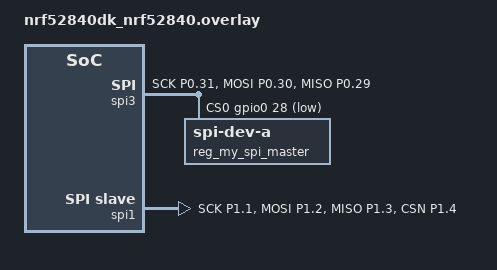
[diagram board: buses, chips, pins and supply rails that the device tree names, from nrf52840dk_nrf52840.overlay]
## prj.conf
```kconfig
CONFIG_GPIO=y

CONFIG_SPI=y
CONFIG_SPI_ASYNC=y

CONFIG_SPI_SLAVE=y
```

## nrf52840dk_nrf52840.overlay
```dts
&pinctrl {
	spi_master_default: spi_master_default {
		group1 {
			psels = <NRF_PSEL(SPIM_SCK, 0, 31)>,
					<NRF_PSEL(SPIM_MOSI, 0, 30)>,
					<NRF_PSEL(SPIM_MISO, 0, 29)>;
		};
	};

	spi_master_sleep: spi_master_sleep {
		group1 {
			psels = <NRF_PSEL(SPIM_SCK, 0, 31)>,
					<NRF_PSEL(SPIM_MOSI, 0, 30)>,
					<NRF_PSEL(SPIM_MISO, 0, 29)>;
			low-power-enable;
		};
	};

	spi_slave_default: spi_slave_default {
		group1 {
			psels = <NRF_PSEL(SPIS_SCK, 1, 1)>,
					<NRF_PSEL(SPIS_MOSI, 1, 2)>,
					<NRF_PSEL(SPIS_MISO, 1, 3)>,
					<NRF_PSEL(SPIS_CSN, 1, 4)>;
		};
	};

	spi_slave_sleep: spi_slave_sleep {
		group1 {
			psels = <NRF_PSEL(SPIS_SCK, 1, 1)>,
					<NRF_PSEL(SPIS_MOSI, 1, 2)>,
					<NRF_PSEL(SPIS_MISO, 1, 3)>,
					<NRF_PSEL(SPIS_CSN, 1, 4)>;
			low-power-enable;
		};
	};
};

my_spi_master: &spi3 {
	compatible = "nordic,nrf-spim";
	status = "okay";
	pinctrl-0 = <&spi_master_default>;
	pinctrl-1 = <&spi_master_sleep>;
	pinctrl-names = "default", "sleep";
	cs-gpios = <&gpio0 28 GPIO_ACTIVE_LOW>;
	reg_my_spi_master: spi-dev-a@0 {
		reg = <0>;
	};
};

my_spi_slave: &spi1 {
	compatible = "nordic,nrf-spis";
	status = "okay";
	pinctrl-0 = <&spi_slave_default>;
	pinctrl-1 = <&spi_slave_sleep>;
	pinctrl-names = "default", "sleep";
	def-char = <0x00>;
};

// By default uart1 will occupy P1.01 and P1.02. In order to make these pins available, disable uart1
&uart1 {
	status="disabled";
};
```

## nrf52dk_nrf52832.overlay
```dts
&pinctrl {
	spi_master_default: spi_master_default {
		group1 {
			psels = <NRF_PSEL(SPIM_SCK, 0, 31)>,
					<NRF_PSEL(SPIM_MOSI, 0, 30)>,
					<NRF_PSEL(SPIM_MISO, 0, 29)>;
		};
	};

	spi_master_sleep: spi_master_sleep {
		group1 {
			psels = <NRF_PSEL(SPIM_SCK, 0, 31)>,
					<NRF_PSEL(SPIM_MOSI, 0, 30)>,
					<NRF_PSEL(SPIM_MISO, 0, 29)>;
			low-power-enable;
		};
	};

	spi_slave_default: spi_slave_default {
		group1 {
			psels = <NRF_PSEL(SPIS_SCK, 0, 11)>,
					<NRF_PSEL(SPIS_MOSI, 0, 12)>,
					<NRF_PSEL(SPIS_MISO, 0, 13)>,
					<NRF_PSEL(SPIS_CSN, 0, 14)>;
		};
	};

	spi_slave_sleep: spi_slave_sleep {
		group1 {
			psels = <NRF_PSEL(SPIS_SCK, 0, 11)>,
					<NRF_PSEL(SPIS_MOSI, 0, 12)>,
					<NRF_PSEL(SPIS_MISO, 0, 13)>,
					<NRF_PSEL(SPIS_CSN, 0, 14)>;
			low-power-enable;
		};
	};
};

my_spi_master: &spi1 {
	compatible = "nordic,nrf-spi";
	status = "okay";
	pinctrl-0 = <&spi_master_default>;
	pinctrl-1 = <&spi_master_sleep>;
	pinctrl-names = "default", "sleep";
	cs-gpios = <&gpio0 28 GPIO_ACTIVE_LOW>;
	reg_my_spi_master: spi-dev-a@0 {
		reg = <0>;
	};
};

my_spi_slave: &spi2 {
	compatible = "nordic,nrf-spis";
	status = "okay";
	pinctrl-0 = <&spi_slave_default>;
	pinctrl-1 = <&spi_slave_sleep>;
	pinctrl-names = "default", "sleep";
	def-char = <0x00>;
};
```

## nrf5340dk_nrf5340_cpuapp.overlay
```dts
&pinctrl {
	spi_master_default: spi_master_default {
		group1 {
			psels = <NRF_PSEL(SPIM_SCK, 0, 6)>,
					<NRF_PSEL(SPIM_MOSI, 0, 7)>,
					<NRF_PSEL(SPIM_MISO, 0, 25)>;
		};
	};

	spi_master_sleep: spi_master_sleep {
		group1 {
			psels = <NRF_PSEL(SPIM_SCK, 0, 6)>,
					<NRF_PSEL(SPIM_MOSI, 0, 7)>,
					<NRF_PSEL(SPIM_MISO, 0, 25)>;
			low-power-enable;
		};
	};

	spi_slave_default: spi_slave_default {
		group1 {
			psels = <NRF_PSEL(SPIS_SCK, 1, 5)>,
					<NRF_PSEL(SPIS_MOSI, 1, 4)>,
					<NRF_PSEL(SPIS_MISO, 1, 1)>,
					<NRF_PSEL(SPIS_CSN, 1, 0)>;
		};
	};

	spi_slave_sleep: spi_slave_sleep {
		group1 {
			psels = <NRF_PSEL(SPIS_SCK, 1, 5)>,
					<NRF_PSEL(SPIS_MOSI, 1, 4)>,
					<NRF_PSEL(SPIS_MISO, 1, 1)>,
					<NRF_PSEL(SPIS_CSN, 1, 0)>;
			low-power-enable;
		};
	};
};

my_spi_master: &spi4 {
	compatible = "nordic,nrf-spim";
	status = "okay";
	pinctrl-0 = <&spi_master_default>;
	pinctrl-1 = <&spi_master_sleep>;
	pinctrl-names = "default", "sleep";
	cs-gpios = <&gpio0 26 GPIO_ACTIVE_LOW>;
	reg_my_spi_master:  spi-dev-a@0 {
		reg = <0>;
	};
};

my_spi_slave: &spi3 {
	compatible = "nordic,nrf-spis";
	status = "okay";
	pinctrl-0 = <&spi_slave_default>;
	pinctrl-1 = <&spi_slave_sleep>;
	pinctrl-names = "default", "sleep";
	def-char = <0x00>;
};
```

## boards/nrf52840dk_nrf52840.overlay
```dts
&pinctrl {
	spi_master_default: spi_master_default {
		group1 {
			psels = <NRF_PSEL(SPIM_SCK, 0, 31)>,
					<NRF_PSEL(SPIM_MOSI, 0, 30)>,
					<NRF_PSEL(SPIM_MISO, 0, 29)>;
		};
	};

	spi_master_sleep: spi_master_sleep {
		group1 {
			psels = <NRF_PSEL(SPIM_SCK, 0, 31)>,
					<NRF_PSEL(SPIM_MOSI, 0, 30)>,
					<NRF_PSEL(SPIM_MISO, 0, 29)>;
			low-power-enable;
		};
	};

	spi_slave_default: spi_slave_default {
		group1 {
			psels = <NRF_PSEL(SPIS_SCK, 1, 1)>,
					<NRF_PSEL(SPIS_MOSI, 1, 2)>,
					<NRF_PSEL(SPIS_MISO, 1, 3)>,
					<NRF_PSEL(SPIS_CSN, 1, 4)>;
		};
	};

	spi_slave_sleep: spi_slave_sleep {
		group1 {
			psels = <NRF_PSEL(SPIS_SCK, 1, 1)>,
					<NRF_PSEL(SPIS_MOSI, 1, 2)>,
					<NRF_PSEL(SPIS_MISO, 1, 3)>,
					<NRF_PSEL(SPIS_CSN, 1, 4)>;
			low-power-enable;
		};
	};
};

my_spi_master: &spi3 {
	compatible = "nordic,nrf-spim";
	status = "okay";
	pinctrl-0 = <&spi_master_default>;
	pinctrl-1 = <&spi_master_sleep>;
	pinctrl-names = "default", "sleep";
	cs-gpios = <&gpio0 28 GPIO_ACTIVE_LOW>;
	reg_my_spi_master: spi-dev-a@0 {
		reg = <0>;
	};
};

my_spi_slave: &spi1 {
	compatible = "nordic,nrf-spis";
	status = "okay";
	pinctrl-0 = <&spi_slave_default>;
	pinctrl-1 = <&spi_slave_sleep>;
	pinctrl-names = "default", "sleep";
	def-char = <0x00>;
};

// By default uart1 will occupy P1.01 and P1.02. In order to make these pins available, disable uart1
&uart1 {
	status="disabled";
};
```

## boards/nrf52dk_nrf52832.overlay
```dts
&pinctrl {
	spi_master_default: spi_master_default {
		group1 {
			psels = <NRF_PSEL(SPIM_SCK, 0, 31)>,
					<NRF_PSEL(SPIM_MOSI, 0, 30)>,
					<NRF_PSEL(SPIM_MISO, 0, 29)>;
		};
	};

	spi_master_sleep: spi_master_sleep {
		group1 {
			psels = <NRF_PSEL(SPIM_SCK, 0, 31)>,
					<NRF_PSEL(SPIM_MOSI, 0, 30)>,
					<NRF_PSEL(SPIM_MISO, 0, 29)>;
			low-power-enable;
		};
	};

	spi_slave_default: spi_slave_default {
		group1 {
			psels = <NRF_PSEL(SPIS_SCK, 0, 11)>,
					<NRF_PSEL(SPIS_MOSI, 0, 12)>,
					<NRF_PSEL(SPIS_MISO, 0, 13)>,
					<NRF_PSEL(SPIS_CSN, 0, 14)>;
		};
	};

	spi_slave_sleep: spi_slave_sleep {
		group1 {
			psels = <NRF_PSEL(SPIS_SCK, 0, 11)>,
					<NRF_PSEL(SPIS_MOSI, 0, 12)>,
					<NRF_PSEL(SPIS_MISO, 0, 13)>,
					<NRF_PSEL(SPIS_CSN, 0, 14)>;
			low-power-enable;
		};
	};
};

my_spi_master: &spi1 {
	compatible = "nordic,nrf-spi";
	status = "okay";
	pinctrl-0 = <&spi_master_default>;
	pinctrl-1 = <&spi_master_sleep>;
	pinctrl-names = "default", "sleep";
	cs-gpios = <&gpio0 28 GPIO_ACTIVE_LOW>;
	reg_my_spi_master: spi-dev-a@0 {
		reg = <0>;
	};
};

my_spi_slave: &spi2 {
	compatible = "nordic,nrf-spis";
	status = "okay";
	pinctrl-0 = <&spi_slave_default>;
	pinctrl-1 = <&spi_slave_sleep>;
	pinctrl-names = "default", "sleep";
	def-char = <0x00>;
};
```

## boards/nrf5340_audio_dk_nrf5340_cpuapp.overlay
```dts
&pinctrl {
	spi_slave_default: spi_slave_default {
		group1 {
			psels = <NRF_PSEL(SPIS_SCK, 1, 13)>,
					<NRF_PSEL(SPIS_MOSI, 1, 14)>,
					<NRF_PSEL(SPIS_MISO, 1, 11)>,
					<NRF_PSEL(SPIS_CSN, 1, 12)>;
		};
	};

	spi_slave_sleep: spi_slave_sleep {
		group1 {
			psels = <NRF_PSEL(SPIS_SCK, 1, 13)>,
					<NRF_PSEL(SPIS_MOSI, 1, 14)>,
					<NRF_PSEL(SPIS_MISO, 1, 11)>,
					<NRF_PSEL(SPIS_CSN, 1, 12)>;
			low-power-enable;
		};
	};
};

my_spi_master: &spi4 {
	cs-gpios = <&gpio0 11 GPIO_ACTIVE_LOW>, <&gpio0 17 GPIO_ACTIVE_LOW>, <&gpio1 8 GPIO_ACTIVE_LOW>;
	reg_my_spi_master: spi-dev-a@2 {
		reg = <2>;
	};
};

my_spi_slave: &spi3 {
	compatible = "nordic,nrf-spis";
	status = "okay";
	pinctrl-0 = <&spi_slave_default>;
	pinctrl-1 = <&spi_slave_sleep>;
	pinctrl-names = "default", "sleep";
	def-char = <0x00>;
};
```

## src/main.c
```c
/*
 * Copyright (c) 2016 Intel Corporation
 *
 * SPDX-License-Identifier: Apache-2.0
 */

#include <zephyr/kernel.h>
#include <zephyr/device.h>
#include <zephyr/devicetree.h>
#include <zephyr/drivers/gpio.h>
#include <zephyr/drivers/spi.h>

/* 1000 msec = 1 sec */
#define SLEEP_TIME_MS   1000

/* The devicetree node identifier for the "led0" alias. */
#define LED0_NODE DT_ALIAS(led0)

#define MY_SPI_MASTER DT_NODELABEL(my_spi_master)
#define MY_SPI_MASTER_CS_DT_SPEC SPI_CS_GPIOS_DT_SPEC_GET(DT_NODELABEL(reg_my_spi_master))

#define MY_SPI_SLAVE  DT_NODELABEL(my_spi_slave)

// SPI master functionality
const struct device *spi_dev;
static struct k_poll_signal spi_done_sig = K_POLL_SIGNAL_INITIALIZER(spi_done_sig);

static void spi_init(void)
{
	spi_dev = DEVICE_DT_GET(MY_SPI_MASTER);
	if(!device_is_ready(spi_dev)) {
		printk("SPI master device not ready!\n");
	}
	struct gpio_dt_spec spim_cs_gpio = MY_SPI_MASTER_CS_DT_SPEC;
	if(!device_is_ready(spim_cs_gpio.port)){
		printk("SPI master chip select device not ready!\n");
	}
}

static struct spi_config spi_cfg = {
	.operation = SPI_WORD_SET(8) | SPI_TRANSFER_MSB | SPI_MODE_CPOL | SPI_MODE_CPHA,
	.frequency = 4000000,
	.slave = 0,
	.cs = {.gpio = MY_SPI_MASTER_CS_DT_SPEC, .delay = 0},
};

static int spi_write_test_msg(void)
{
	static uint8_t counter = 0;
	static uint8_t tx_buffer[2];
	static uint8_t rx_buffer[2];

	const struct spi_buf tx_buf = {
		.buf = tx_buffer,
		.len = sizeof(tx_buffer)
	};
	const struct spi_buf_set tx = {
		.buffers = &tx_buf,
		.count = 1
	};

	struct spi_buf rx_buf = {
		.buf = rx_buffer,
		.len = sizeof(rx_buffer),
	};
	const struct spi_buf_set rx = {
		.buffers = &rx_buf,
		.count = 1
	};

	// Update the TX buffer with a rolling counter
	tx_buffer[0] = counter++;
	printk("SPI TX: 0x%.2x, 0x%.2x\n", tx_buffer[0], tx_buffer[1]);

	// Reset signal
	k_poll_signal_reset(&spi_done_sig);
	
	// Start transaction
	int error = spi_transceive_signal(spi_dev, &spi_cfg, &tx, &rx, &spi_done_sig);
	if(error != 0){
		printk("SPI transceive error: %i\n", error);
		return error;
	}

	// Wait for the done signal to be raised and log the rx buffer
	int spi_signaled, spi_result;
	do{
		k_poll_signal_check(&spi_done_sig, &spi_signaled, &spi_result);
	} while(spi_signaled == 0);
	printk("SPI RX: 0x%.2x, 0x%.2x\n", rx_buffer[0], rx_buffer[1]);
	return 0;
}

// SPI slave functionality
const struct device *spi_slave_dev;
static struct k_poll_signal spi_slave_done_sig = K_POLL_SIGNAL_INITIALIZER(spi_slave_done_sig);

static const struct spi_config spi_slave_cfg = {
	.operation = SPI_WORD_SET(8) | SPI_TRANSFER_MSB |
				 SPI_MODE_CPOL | SPI_MODE_CPHA | SPI_OP_MODE_SLAVE,
	.frequency = 4000000,
	.slave = 0,
};

static void spi_slave_init(void)
{
	spi_slave_dev = DEVICE_DT_GET(MY_SPI_SLAVE);
	if(!device_is_ready(spi_dev)) {
		printk("SPI slave device not ready!\n");
	}
}

static uint8_t slave_tx_buffer[2];
static uint8_t slave_rx_buffer[2];
static int spi_slave_write_test_msg(void)
{
	static uint8_t counter = 0;


	const struct spi_buf s_tx_buf = {
		.buf = slave_tx_buffer,
		.len = sizeof(slave_tx_buffer)
	};
	const struct spi_buf_set s_tx = {
		.buffers = &s_tx_buf,
		.count = 1
	};

	struct spi_buf s_rx_buf = {
		.buf = slave_rx_buffer,
		.len = sizeof(slave_rx_buffer),
	};
	const struct spi_buf_set s_rx = {
		.buffers = &s_rx_buf,
		.count = 1
	};

	// Update the TX buffer with a rolling counter
	slave_tx_buffer[1] = counter++;
	printk("SPI SLAVE TX: 0x%.2x, 0x%.2x\n", slave_tx_buffer[0], slave_tx_buffer[1]);

	// Reset signal
	k_poll_signal_reset(&spi_slave_done_sig);
	
	// Start transaction
	int error = spi_transceive_signal(spi_slave_dev, &spi_slave_cfg, &s_tx, &s_rx, &spi_slave_done_sig);
	if(error != 0){
		printk("SPI slave transceive error: %i\n", error);
		return error;
	}
	return 0;
}

static int spi_slave_check_for_message(void)
{
	int signaled, result;
	k_poll_signal_check(&spi_slave_done_sig, &signaled, &result);
	if(signaled != 0){
		return 0;
	}
	else return -1;
}

/*
 * A build error on this line means your board is unsupported.
 * See the sample documentation for information on how to fix this.
 */
static const struct gpio_dt_spec led = GPIO_DT_SPEC_GET(LED0_NODE, gpios);

int main(void)
{
	int ret;

	if (!device_is_ready(led.port)) {
		return 0;
	}

	ret = gpio_pin_configure_dt(&led, GPIO_OUTPUT_ACTIVE);
	if (ret < 0) {
		return 0;
	}

	spi_init();

	spi_slave_init();

	printk("SPI master/slave example started\n");
	
	spi_slave_write_test_msg();

	while (1) {
		spi_write_test_msg();
		ret = gpio_pin_toggle_dt(&led);
		if (ret < 0) {
			return 0;
		}
		k_msleep(SLEEP_TIME_MS);

		if(spi_slave_check_for_message() == 0){
			// Print the last received data
			printk("SPI SLAVE RX: 0x%.2x, 0x%.2x\n", slave_rx_buffer[0], slave_rx_buffer[1]);
			
			// Prepare the next SPI slave transaction
			spi_slave_write_test_msg();
		}
	}

	return 0;
}
```
